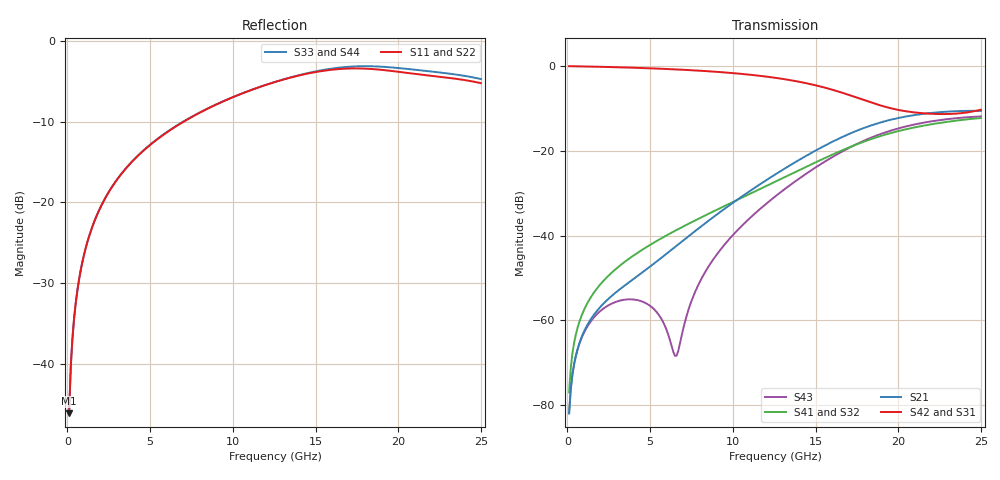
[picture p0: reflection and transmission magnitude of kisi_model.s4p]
! kisi E_s8_L1L3_p1000_round_g2: fast channel model (formula impedances, via model), up to 25 GHz
# Hz S RI R 50
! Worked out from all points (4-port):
!   250 points, 100 MHz to 25 GHz, reference 50 ohm
!   strongest paths, dB at 100 MHz, 6.3 GHz, 12.6 GHz, 18.8 GHz, 25 GHz:
!     S42: 0.0, -0.7, -2.8, -9.1, -10.3
!     S31: 0.0, -0.7, -2.8, -9.1, -10.3
!     S21: -81.9, -43.3, -25.5, -13.5, -10.6
!     S41: -77.0, -39.3, -27.2, -16.7, -12.3
!     S32: -77.0, -39.3, -27.2, -16.7, -12.3
!     S43: -81.9, -66.1, -30.6, -16.2, -11.9
!   lowest |S11| = -46.1 dB at 100 MHz (marker M1), VSWR 1.01, Z = 50.1 - j0.482 ohm
!   |S11| at or under -10 dB: start of sweep to 7.038 GHz
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1e8  0.00112 -0.00481  4.78e-06 8e-05  0.9972 -0.0381  -1.09e-05 -0.000141
     4.78e-06 8e-05  0.00112 -0.00481  -1.09e-05 -0.000141  0.9972 -0.0381
     0.9972 -0.0381  -1.09e-05 -0.000141  0.00111 -0.0048  7.15e-06 7.98e-05
     -1.09e-05 -0.000141  0.9972 -0.0381  7.15e-06 7.98e-05  0.00111 -0.0048
4.1e9  -0.186 -0.0186  0.00171 0.00269  0.0732 -0.9524  -0.00601 -0.000306
       0.00171 0.00269  -0.186 -0.0186  -0.00601 -0.000306  0.0732 -0.9524
       0.0732 -0.9524  -0.00601 -0.000306  -0.1877 -0.000642  0.00172 -0.000323
       -0.00601 -0.000306  0.0732 -0.9524  0.00172 -0.000323  -0.1877 -0.000642
6.6e9  -0.2135 0.2063  0.00589 0.00479  -0.6719 -0.6181  -0.00676 0.0095
       0.00589 0.00479  -0.2135 0.2063  -0.00676 0.0095  -0.6719 -0.6181
       -0.6719 -0.6181  -0.00676 0.0095  -0.1758 0.241  0.000366 0.000114
       -0.00676 0.0095  -0.6719 -0.6181  0.000366 0.000114  -0.1758 0.241
8.1e9  -0.1019 0.3487  0.0121 0.00447  -0.8625 -0.174  0.000484 0.0164
       0.0121 0.00447  -0.1019 0.3487  0.000484 0.0164  -0.8625 -0.174
       -0.8625 -0.174  0.000484 0.0164  -0.022 0.3638  0.00195 0.00241
       0.000484 0.0164  -0.8625 -0.174  0.00195 0.00241  -0.022 0.3638
1.64e10  0.256 -0.6174  -0.1332 -0.04  0.4717 0.165  -0.0915 -0.0333
         -0.1332 -0.04  0.256 -0.6174  -0.0915 -0.0333  0.4717 0.165
         0.4717 0.165  -0.0915 -0.0333  -0.0807 -0.6769  -0.0928 0.0078
         -0.0915 -0.0333  0.4717 0.165  -0.0928 0.0078  -0.0807 -0.6769
2.01e10  -0.5461 -0.3364  0.0275 0.2447  0.2545 -0.1619  0.0698 0.1581
         0.0275 0.2447  -0.5461 -0.3364  0.0698 0.1581  0.2545 -0.1619
         0.2545 -0.1619  0.0698 0.1581  -0.6747 0.0571  0.1276 0.1354
         0.0698 0.1581  0.2545 -0.1619  0.1276 0.1354  -0.6747 0.0571
2.5e10  -0.1849 0.5142  0.1072 -0.2764  0.0593 -0.2998  -0.0651 -0.2352
        0.1072 -0.2764  -0.1849 0.5142  -0.0651 -0.2352  0.0593 -0.2998
        0.0593 -0.2998  -0.0651 -0.2352  0.2446 0.5254  -0.1342 -0.2162
        -0.0651 -0.2352  0.0593 -0.2998  -0.1342 -0.2162  0.2446 0.5254
